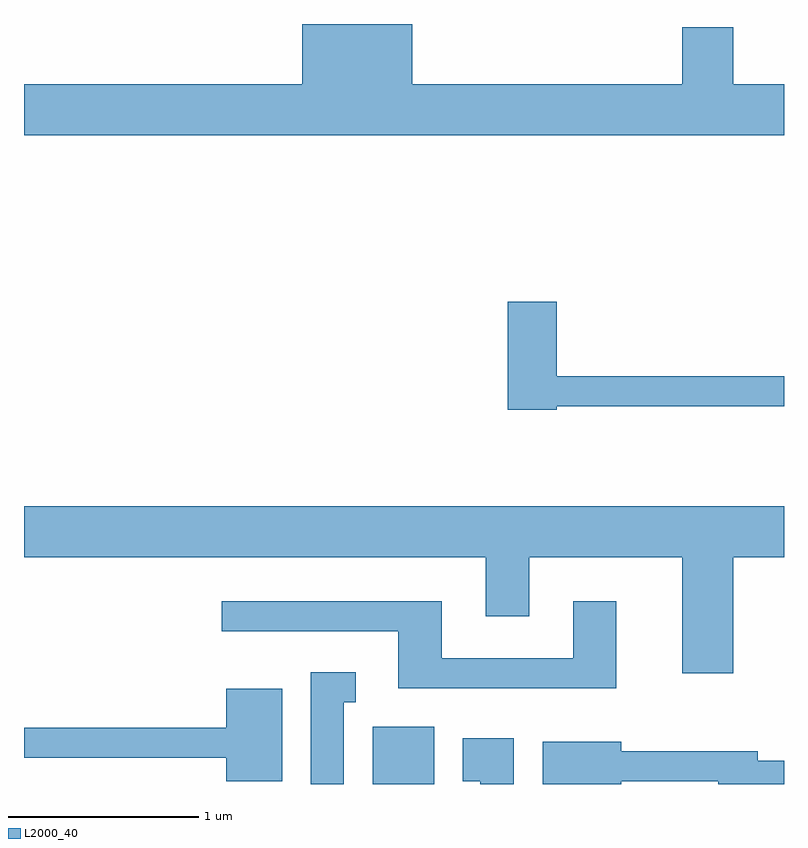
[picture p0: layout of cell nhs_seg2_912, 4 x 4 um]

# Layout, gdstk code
import gdstk
lib = gdstk.Library(unit=1e-6, precision=1e-09)
def R(c, l, rs):  # rectangles x0, y0, x1, y1
    for r in rs: c.add(gdstk.rectangle(r[:2], r[2:], *l))
def P(c, l, *ps):  # polygons
    for p in ps: c.add(gdstk.Polygon(p, *l))
L2000_40 = (2000, 40)

nhs_seg2_912 = lib.new_cell('nhs_seg2_912')
R(nhs_seg2_912, L2000_40, [(213.446,1033.802,213.769,1034.104)])
P(nhs_seg2_912, L2000_40, [(215.611,1037.484),(215.344,1037.484),(215.344,1037.784),(215.076,1037.784),(215.076,1037.484),(213.654,1037.484),(213.654,1037.802),(213.076,1037.802),(213.076,1037.484),(211.611,1037.484),(211.611,1037.216),(215.611,1037.216)],
  [(214.414,1035.791),(215.611,1035.791),(215.611,1035.949),(214.414,1035.949),(214.414,1036.339),(214.156,1036.339),(214.156,1035.771),(214.414,1035.771)],
  [(215.344,1034.996),(215.611,1034.996),(215.611,1035.264),(211.611,1035.264),(211.611,1034.996),(214.041,1034.996),(214.041,1034.686),(214.269,1034.686),(214.269,1034.996),(215.076,1034.996),(215.076,1034.386),(215.344,1034.386)],
  [(214.729,1034.764),(214.501,1034.764),(214.501,1034.464),(213.809,1034.464),(213.809,1034.764),(212.653,1034.764),(212.653,1034.606),(213.581,1034.606),(213.581,1034.306),(214.729,1034.306)],
  [(213.294,1034.231),(213.358,1034.231),(213.358,1034.389),(213.121,1034.389),(213.121,1033.802),(213.294,1033.802)],
  [(212.969,1034.304),(212.676,1034.304),(212.676,1034.099),(211.611,1034.099),(211.611,1033.941),(212.676,1033.941),(212.676,1033.816),(212.969,1033.816)],
  [(214.189,1034.044),(213.921,1034.044),(213.921,1033.816),(214.011,1033.816),(214.011,1033.802),(214.189,1033.802)],
  [(214.754,1033.816),(215.266,1033.816),(215.266,1033.802),(215.611,1033.802),(215.611,1033.924),(215.474,1033.924),(215.474,1033.974),(214.754,1033.974),(214.754,1034.024),(214.341,1034.024),(214.341,1033.802),(214.754,1033.802)])

lib.write_gds('nhs_seg2_912.gds')
